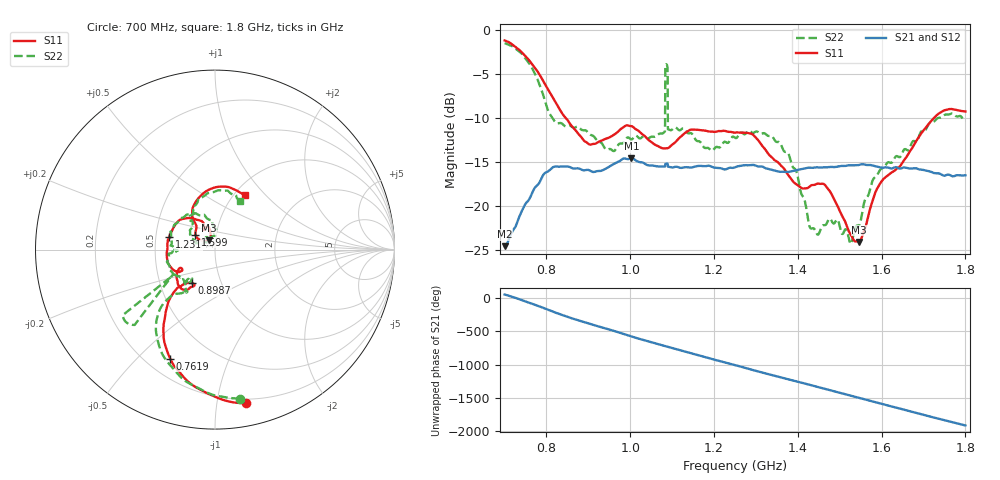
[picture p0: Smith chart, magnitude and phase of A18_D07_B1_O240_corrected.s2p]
! Created with skrf 1.9.0 (http://scikit-rf.org).
# Hz S RI R 50.0
!freq ReS11 ImS11 ReS21 ImS21 ReS12 ImS12 ReS22 ImS22
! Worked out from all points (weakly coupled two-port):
!   1601 points, 700 MHz to 1.8 GHz, reference 50 ohm
!   highest |S21| = -14.58 dB at 1.002 GHz (marker M1); lowest = -24.5 dB at 700.7 MHz (marker M2)
!   lowest |S11| = -24.1 dB at 1.546 GHz (marker M3), VSWR 1.13, Z = 46.3 + j4.8 ohm
!   |S11| at or under -10 dB: 846.2 MHz to 1.725 GHz (878.4 MHz wide, 68.3 % of centre)
!   |S22| runs from -24.3 to -1.5 dB; largest |S21 - S12| = 0.0036
!   S11 on the Smith chart (normalised r, x): 700 MHz: 0.17, -1.21; 761.9 MHz: 0.29, -0.63; 898.7 MHz: 0.72, -0.28; 1.231 GHz: 0.59, +0.09; 1.599 GHz: 0.79, +0.13; 1.8 GHz: 1.12, +0.77
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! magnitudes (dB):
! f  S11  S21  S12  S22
! 700 MHz  -1.2  -24.5  -24.3  -1.5
! 700.7 MHz  -1.2  -24.5  -24.2  -1.5
! 761.9 MHz  -3.6  -18.9  -18.9  -4.0
! 818.2 MHz  -7.9  -15.5  -15.6  -10.3
! 883.6 MHz  -12.2  -15.9  -15.7  -11.3
! 898.7 MHz  -12.9  -15.9  -15.9  -11.6
! 1.002 GHz  -10.9  -14.6  -14.7  -12.4
! 1.067 GHz  -13.2  -15.5  -15.4  -11.8
! 1.077 GHz  -13.4  -15.5  -15.6  -11.7
! 1.084 GHz  -13.4  -15.2  -15.2  -4.0
! 1.089 GHz  -13.4  -15.2  -15.2  -4.2
! 1.095 GHz  -13.2  -15.6  -15.6  -11.4
! 1.231 GHz  -11.5  -15.7  -15.7  -12.8
! 1.25 GHz  -11.7  -15.6  -15.5  -12.2
! 1.357 GHz  -15.3  -16.1  -16.1  -12.8
! 1.434 GHz  -17.6  -15.7  -15.6  -22.5
! 1.526 GHz  -23.2  -15.4  -15.3  -24.3
! 1.546 GHz  -24.1  -15.3  -15.3  -22.2
! 1.599 GHz  -17.3  -15.6  -15.6  -15.8
! 1.617 GHz  -16.4  -15.7  -15.6  -15.0
! 1.733 GHz  -9.6  -16.3  -16.3  -10.0
! 1.8 GHz  -9.2  -16.5  -16.5  -10.3
